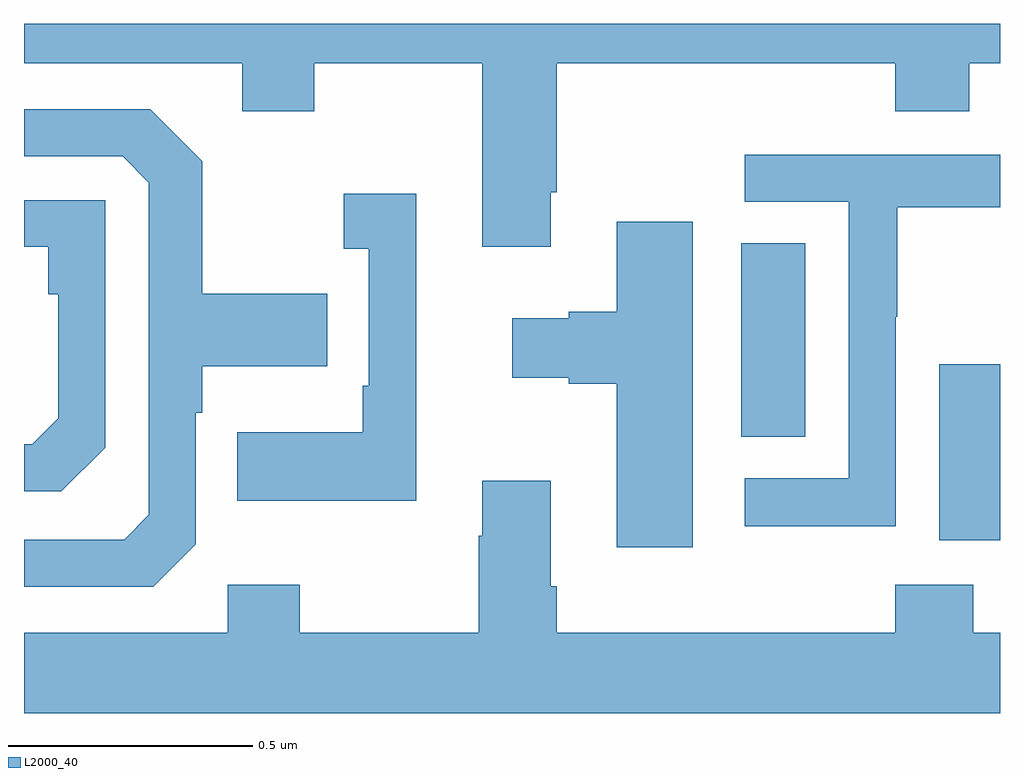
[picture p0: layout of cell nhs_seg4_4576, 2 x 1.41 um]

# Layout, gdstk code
import gdstk
lib = gdstk.Library(unit=1e-6, precision=1e-09)
def R(c, l, rs):  # rectangles x0, y0, x1, y1
    for r in rs: c.add(gdstk.rectangle(r[:2], r[2:], *l))
def P(c, l, *ps):  # polygons
    for p in ps: c.add(gdstk.Polygon(p, *l))
L2000_40 = (2000, 40)

nhs_seg4_4576 = lib.new_cell('nhs_seg4_4576')
R(nhs_seg4_4576, L2000_40, [(168.875,795.842,169,796.203), (168.47,796.054,168.601,796.451)])
P(nhs_seg4_4576, L2000_40, [(168.079,796.555),(168.092,796.555),(168.092,796.82),(168.785,796.82),(168.785,796.721),(168.937,796.721),(168.937,796.82),(169,796.82),(169,796.9),(167,796.9),(167,796.82),(167.447,796.82),(167.447,796.721),(167.595,796.721),(167.595,796.82),(167.939,796.82),(167.939,796.443),(168.079,796.443)],
  [(167.352,795.834),(167.352,796.103),(167.365,796.103),(167.365,796.199),(167.621,796.199),(167.621,796.347),(167.365,796.347),(167.365,796.619),(167.259,796.725),(167,796.725),(167,796.629),(167.202,796.629),(167.256,796.575),(167.256,795.894),(167.205,795.843),(167,795.843),(167,795.747),(167.265,795.747)],
  [(168.786,796.3),(168.789,796.3),(168.789,796.524),(169,796.524),(169,796.632),(168.477,796.632),(168.477,796.536),(168.69,796.536),(168.69,795.969),(168.477,795.969),(168.477,795.871),(168.786,795.871)],
  [(167.804,796.552),(167.655,796.552),(167.655,796.439),(167.706,796.439),(167.706,796.159),(167.694,796.159),(167.694,796.063),(167.437,796.063),(167.437,795.923),(167.804,795.923)],
  [(167.166,796.032),(167.166,796.539),(167,796.539),(167,796.443),(167.05,796.443),(167.05,796.346),(167.07,796.346),(167.07,796.092),(167.017,796.039),(167,796.039),(167,795.942),(167.076,795.942)],
  [(168.37,796.495),(168.215,796.495),(168.215,796.31),(168.116,796.31),(168.116,796.297),(168,796.297),(168,796.175),(168.116,796.175),(168.116,796.163),(168.215,796.163),(168.215,795.828),(168.37,795.828)],
  [(169,795.652),(168.945,795.652),(168.945,795.751),(168.785,795.751),(168.785,795.652),(168.092,795.652),(168.092,795.748),(168.079,795.748),(168.079,795.964),(167.939,795.964),(167.939,795.851),(167.932,795.851),(167.932,795.652),(167.565,795.652),(167.565,795.751),(167.418,795.751),(167.418,795.652),(167,795.652),(167,795.488),(169,795.488)])

lib.write_gds('nhs_seg4_4576.gds')
